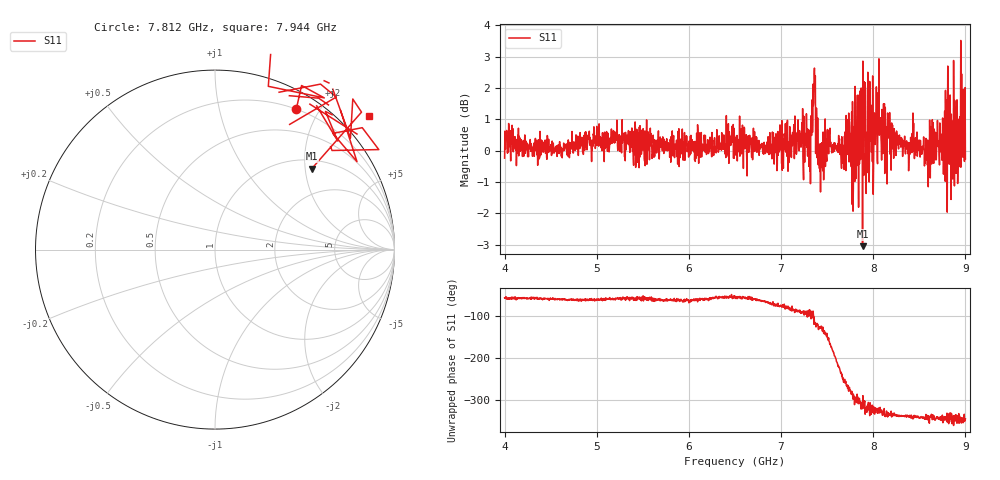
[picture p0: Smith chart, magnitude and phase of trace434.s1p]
! Created with skrf 1.8.0 (http://scikit-rf.org).
# Hz S RI R 50.0
!freq ReS11 ImS11
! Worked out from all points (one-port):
!   1601 points, 4 GHz to 9 GHz, reference 50 ohm
!   lowest |S11| = -3.1 dB at 7.884 GHz (marker M1), VSWR 5.75, Z = 60.7 + j109 ohm
!   |S11| at or under -10 dB: nowhere
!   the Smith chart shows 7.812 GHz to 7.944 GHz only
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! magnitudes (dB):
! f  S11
! 4 GHz  -0.2
! 4.028 GHz  0.3
! 4.625 GHz  -0.2
! 5.25 GHz  0.0
! 5.875 GHz  0.0
! 6.5 GHz  0.4
! 7.125 GHz  0.6
! 7.306 GHz  0.4
! 7.347 GHz  2.1
! 7.372 GHz  2.4
! 7.4 GHz  0.3
! 7.428 GHz  -1.3
! 7.525 GHz  0.7
! 7.659 GHz  0.4
! 7.75 GHz  0.1
! 7.775 GHz  1.6
! 7.884 GHz  -3.1
! 7.909 GHz  1.0
! 7.962 GHz  2.2
! 8.022 GHz  0.2
! 8.056 GHz  0.9
! 8.375 GHz  0.1
! 8.6 GHz  0.2
! 8.781 GHz  -1.0
! 8.809 GHz  2.7
! 8.844 GHz  -1.6
! 8.972 GHz  0.9
! 9 GHz  -0.3
